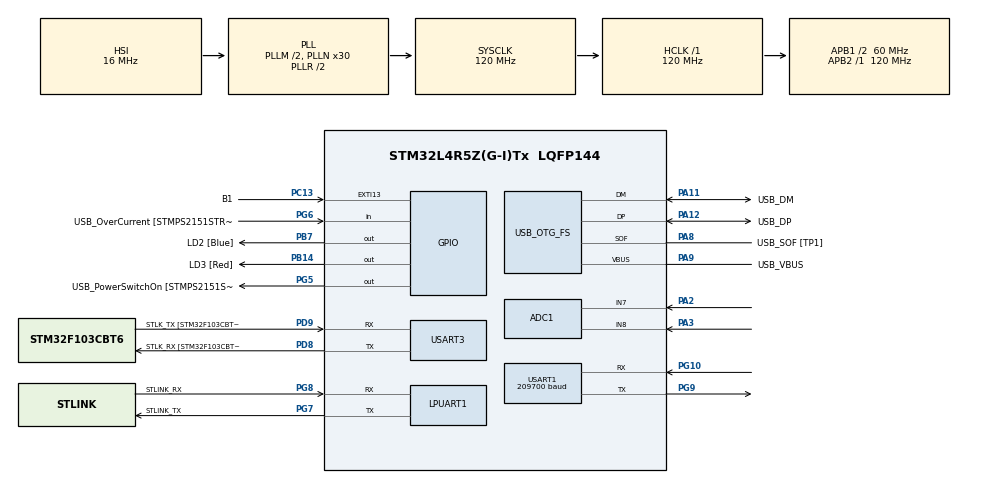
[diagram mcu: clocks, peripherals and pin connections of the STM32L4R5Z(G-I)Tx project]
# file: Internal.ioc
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ADC1.Channel-0\#ChannelRegularConversion=ADC_CHANNEL_TEMPSENSOR
ADC1.ContinuousConvMode=ENABLE
ADC1.EnableAnalogWatchDog1=true
ADC1.NbrOfConversionFlag=1
ADC1.OffsetNumber-0\#ChannelRegularConversion=ADC_OFFSET_NONE
ADC1.Rank-0\#ChannelRegularConversion=1
ADC1.SamplingTime-0\#ChannelRegularConversion=ADC_SAMPLETIME_47CYCLES_5
ADC1.WatchdogChannel=ADC_CHANNEL_TEMPSENSOR
ADC1.master=1
Mcu.Family=STM32L4
Mcu.Name=STM32L4R5Z(G-I)Tx
Mcu.Package=LQFP144
NVIC.PriorityGroup=NVIC_PRIORITYGROUP_4
PA10.GPIO_Label=USB_ID
PA10.Signal=USB_OTG_FS_ID
PA11.GPIO_Label=USB_DM
PA11.Mode=Device_Only
PA11.Signal=USB_OTG_FS_DM
PA12.GPIO_Label=USB_DP
PA12.Mode=Device_Only
PA12.Signal=USB_OTG_FS_DP
PA13\ (JTMS/SWDIO).GPIO_Label=TMS
PA13\ (JTMS/SWDIO).Mode=Trace_Asynchronous_SW
PA13\ (JTMS/SWDIO).Signal=SYS_JTMS-SWDIO
PA14\ (JTCK/SWCLK).GPIO_Label=TCK
PA14\ (JTCK/SWCLK).Mode=Trace_Asynchronous_SW
PA14\ (JTCK/SWCLK).Signal=SYS_JTCK-SWCLK
PA2.Signal=ADCx_IN7
PA3.Signal=ADCx_IN8
PA8.GPIO_Label=USB_SOF [TP1]
PA8.Mode=Activate_SOF_FS
PA8.Signal=USB_OTG_FS_SOF
PA9.GPIO_Label=USB_VBUS
PA9.Mode=Activate_VBUS
PA9.Signal=USB_OTG_FS_VBUS
PB14.GPIO_Label=LD3 [Red]
PB14.Signal=GPIO_Output
PB3\ (JTDO/TRACESWO).GPIO_Label=SWO
PB3\ (JTDO/TRACESWO).Mode=Trace_Asynchronous_SW
PB3\ (JTDO/TRACESWO).Signal=SYS_JTDO-SWO
PB7.GPIO_Label=LD2 [Blue]
PB7.Signal=GPIO_Output
PC13.GPIO_Label=B1
PC13.Signal=GPXTI13
PC14-OSC32_IN\ (PC14).Mode=LSE-External-Oscillator
PC14-OSC32_IN\ (PC14).Signal=RCC_OSC32_IN
PC15-OSC32_OUT\ (PC15).Mode=LSE-External-Oscillator
PC15-OSC32_OUT\ (PC15).Signal=RCC_OSC32_OUT
PD8.GPIO_Label=STLK_RX [STM32F103CBT6_PA3]
PD8.Mode=Asynchronous
PD8.Signal=USART3_TX
PD9.GPIO_Label=STLK_TX [STM32F103CBT6_PA2]
PD9.Mode=Asynchronous
PD9.Signal=USART3_RX
PG10.Mode=Asynchronous
PG10.Signal=USART1_RX
PG5.GPIO_Label=USB_PowerSwitchOn [STMPS2151STR_EN]
PG5.Signal=GPIO_Output
PG6.GPIO_Label=USB_OverCurrent [STMPS2151STR_FAULT]
PG6.Signal=GPIO_Input
PG7.GPIO_Label=STLINK_TX
PG7.Mode=Asynchronous
PG7.Signal=LPUART1_TX
PG8.GPIO_Label=STLINK_RX
PG8.Mode=Asynchronous
PG8.Signal=LPUART1_RX
PG9.Mode=Asynchronous
PG9.Signal=USART1_TX
PH0-OSC_IN\ (PH0).Signal=RCC_OSC_IN
PH1-OSC_OUT\ (PH1).Signal=RCC_OSC_OUT
ProjectManager.HeapSize=0x200
ProjectManager.StackSize=0x400
ProjectManager.TargetToolchain=STM32CubeIDE
RCC.48MHZClocksFreq_Value=24000000
RCC.ADCFreq_Value=48000000
RCC.AHBFreq_Value=120000000
RCC.APB1CLKDivider=RCC_HCLK_DIV2
RCC.APB1Freq_Value=60000000
RCC.APB1TimFreq_Value=120000000
RCC.APB2Freq_Value=120000000
RCC.APB2TimFreq_Value=120000000
RCC.CK48CLockSelection=RCC_USBCLKSOURCE_HSI48
RCC.CortexFreq_Value=120000000
RCC.HCLKFreq_Value=120000000
RCC.HSE_VALUE=8000000
RCC.HSI48_VALUE=48000000
RCC.HSI_VALUE=16000000
RCC.MSI_VALUE=4000000
RCC.PLLM1=2
RCC.PLLM2=2
RCC.PLLMUL=RCC_PLL_MUL9
RCC.PLLN=30
RCC.PLLSAI1N=12
RCC.PLLSourceVirtual=RCC_PLLSOURCE_HSI
RCC.PRESCALERUSB=RCC_USBCLKSOURCE_PLL_DIV1_5
RCC.SYSCLKFreq_VALUE=120000000
RCC.SYSCLKSource=RCC_SYSCLKSOURCE_PLLCLK
RCC.SYSCLKSourceVirtual=RCC_SYSCLKSOURCE_PLLCLK
RCC.USBFreq_Value=48000000
RCC.VCOOutputFreq_Value=240000000
SH.ADCx_IN7.0=ADC1_IN7,IN7-Differential
SH.ADCx_IN8.0=ADC1_IN8,IN7-Differential
USART1.BaudRate=209700
USART1.VirtualMode-Asynchronous=VM_ASYNC
USART3.VirtualMode-Asynchronous=VM_ASYNC
USB_OTG_FS.VirtualMode=Device_Only
VP_ADC1_TempSens_Input.Mode=IN-TempSens
board=NUCLEO-L4R5ZI

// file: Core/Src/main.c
/* USER CODE BEGIN Header */
/**
 ******************************************************************************
 * @file           : main.c
 * @brief          : Main program body
 ******************************************************************************
 * @attention
 *
 * Copyright (c) 2022 STMicroelectronics.
 * All rights reserved.
 *
 * This software is licensed under terms that can be found in the LICENSE file
 * in the root directory of this software component.
 * If no LICENSE file comes with this software, it is provided AS-IS.
 *
 ******************************************************************************
 */
/* USER CODE END Header */
#include "main.h"

ADC_HandleTypeDef hadc1;

UART_HandleTypeDef hlpuart1;
UART_HandleTypeDef huart1;
UART_HandleTypeDef huart3;

PCD_HandleTypeDef hpcd_USB_OTG_FS;

void SystemClock_Config(void);
static void MX_GPIO_Init(void);
static void MX_LPUART1_UART_Init(void);
static void MX_USART3_UART_Init(void);
static void MX_USB_OTG_FS_PCD_Init(void);
static void MX_USART1_UART_Init(void);
static void MX_ADC1_Init(void);

/* USER CODE BEGIN 0 */
uint8_t dataRec[65];
#define Avg_Slope 2.5
#define v30	0.76
#define vtemp 30
#define vrefplus 3.5
#define something_stupid

float temperature;

/* USER CODE END 0 */

int main(void) {

	/* MCU Configuration--------------------------------------------------------*/

	/* Reset of all peripherals, Initializes the Flash interface and the Systick. */
	HAL_Init();

	/* Configure the system clock */
	SystemClock_Config();

	/* Initialize all configured peripherals */
	MX_GPIO_Init();
	MX_LPUART1_UART_Init();
	MX_USART3_UART_Init();
	MX_USB_OTG_FS_PCD_Init();
	MX_USART1_UART_Init();
	MX_ADC1_Init();
	/* USER CODE BEGIN 2 */
	HAL_ADC_Start(&hadc1);

	/* USER CODE END 2 */

	/* Infinite loop */
	while (1) {

		/* USER CODE BEGIN 3 */
		char newLine[2] = "\n";

		HAL_ADC_Start(&hadc1);
		HAL_ADC_PollForConversion(&hadc1, 1000);
		uint16_t readValue = HAL_ADC_GetValue(&hadc1);
		temperature = (float) __LL_ADC_CALC_TEMPERATURE_TYP_PARAMS(Avg_Slope,
				v30, vtemp, vrefplus, readValue, LL_ADC_RESOLUTION_12B);

		HAL_ADC_Stop(&hadc1);

		uint8_t tempBuf[3];
		int temp = (int) temperature;
		itoa(temp, tempBuf, 10);
		HAL_UART_Transmit(&hlpuart1, tempBuf, strlen((char*) tempBuf),
		HAL_MAX_DELAY);

		// Print new line for clarity
		HAL_UART_Transmit(&hlpuart1, newLine, strlen((char*) newLine),
		HAL_MAX_DELAY);
		HAL_Delay(700);
	}
	/* USER CODE END 3 */
}

void SystemClock_Config(void) {
	RCC_OscInitTypeDef RCC_OscInitStruct = { 0 };
	RCC_ClkInitTypeDef RCC_ClkInitStruct = { 0 };

	/** Configure the main internal regulator output voltage
	 */
	if (HAL_PWREx_ControlVoltageScaling(PWR_REGULATOR_VOLTAGE_SCALE1_BOOST)
			!= HAL_OK) {
		Error_Handler();
	}

	/** Initializes the RCC Oscillators according to the specified parameters
	 * in the RCC_OscInitTypeDef structure.
	 */
	RCC_OscInitStruct.OscillatorType = RCC_OSCILLATORTYPE_HSI48
			| RCC_OSCILLATORTYPE_HSI;
	RCC_OscInitStruct.HSIState = RCC_HSI_ON;
	RCC_OscInitStruct.HSI48State = RCC_HSI48_ON;
	RCC_OscInitStruct.HSICalibrationValue = RCC_HSICALIBRATION_DEFAULT;
	RCC_OscInitStruct.PLL.PLLState = RCC_PLL_ON;
	RCC_OscInitStruct.PLL.PLLSource = RCC_PLLSOURCE_HSI;
	RCC_OscInitStruct.PLL.PLLM = 2;
	RCC_OscInitStruct.PLL.PLLN = 30;
	RCC_OscInitStruct.PLL.PLLP = RCC_PLLP_DIV2;
	RCC_OscInitStruct.PLL.PLLQ = RCC_PLLQ_DIV2;
	RCC_OscInitStruct.PLL.PLLR = RCC_PLLR_DIV2;
	if (HAL_RCC_OscConfig(&RCC_OscInitStruct) != HAL_OK) {
		Error_Handler();
	}

	/** Initializes the CPU, AHB and APB buses clocks
	 */
	RCC_ClkInitStruct.ClockType = RCC_CLOCKTYPE_HCLK | RCC_CLOCKTYPE_SYSCLK
			| RCC_CLOCKTYPE_PCLK1 | RCC_CLOCKTYPE_PCLK2;
	RCC_ClkInitStruct.SYSCLKSource = RCC_SYSCLKSOURCE_PLLCLK;
	RCC_ClkInitStruct.AHBCLKDivider = RCC_SYSCLK_DIV1;
	RCC_ClkInitStruct.APB1CLKDivider = RCC_HCLK_DIV2;
	RCC_ClkInitStruct.APB2CLKDivider = RCC_HCLK_DIV1;

	if (HAL_RCC_ClockConfig(&RCC_ClkInitStruct, FLASH_LATENCY_5) != HAL_OK) {
		Error_Handler();
	}
}

static void MX_ADC1_Init(void) {

	ADC_AnalogWDGConfTypeDef AnalogWDGConfig = { 0 };
	ADC_ChannelConfTypeDef sConfig = { 0 };

	/** Common config
	 */
	hadc1.Instance = ADC1;
	hadc1.Init.ClockPrescaler = ADC_CLOCK_ASYNC_DIV1;
	hadc1.Init.Resolution = ADC_RESOLUTION_12B;
	hadc1.Init.DataAlign = ADC_DATAALIGN_RIGHT;
	hadc1.Init.ScanConvMode = ADC_SCAN_DISABLE;
	hadc1.Init.EOCSelection = ADC_EOC_SINGLE_CONV;
	hadc1.Init.LowPowerAutoWait = DISABLE;
	hadc1.Init.ContinuousConvMode = ENABLE;
	hadc1.Init.NbrOfConversion = 1;
	hadc1.Init.DiscontinuousConvMode = DISABLE;
	hadc1.Init.ExternalTrigConv = ADC_SOFTWARE_START;
	hadc1.Init.ExternalTrigConvEdge = ADC_EXTERNALTRIGCONVEDGE_NONE;
	hadc1.Init.DMAContinuousRequests = DISABLE;
	hadc1.Init.Overrun = ADC_OVR_DATA_PRESERVED;
	hadc1.Init.OversamplingMode = DISABLE;
	if (HAL_ADC_Init(&hadc1) != HAL_OK) {
		Error_Handler();
	}

	/** Configure Analog WatchDog 1
	 */
	AnalogWDGConfig.WatchdogNumber = ADC_ANALOGWATCHDOG_1;
	AnalogWDGConfig.WatchdogMode = ADC_ANALOGWATCHDOG_SINGLE_REG;
	AnalogWDGConfig.Channel = ADC_CHANNEL_TEMPSENSOR;
	AnalogWDGConfig.ITMode = DISABLE;
	AnalogWDGConfig.HighThreshold = 0;
	AnalogWDGConfig.LowThreshold = 0;
	if (HAL_ADC_AnalogWDGConfig(&hadc1, &AnalogWDGConfig) != HAL_OK) {
		Error_Handler();
	}

	/** Configure Regular Channel
	 */
	sConfig.Channel = ADC_CHANNEL_TEMPSENSOR;
	sConfig.Rank = ADC_REGULAR_RANK_1;
	sConfig.SamplingTime = ADC_SAMPLETIME_47CYCLES_5;
	sConfig.SingleDiff = ADC_SINGLE_ENDED;
	sConfig.OffsetNumber = ADC_OFFSET_NONE;
	sConfig.Offset = 0;
	if (HAL_ADC_ConfigChannel(&hadc1, &sConfig) != HAL_OK) {
		Error_Handler();
	}

}

static void MX_LPUART1_UART_Init(void) {

	hlpuart1.Instance = LPUART1;
	hlpuart1.Init.BaudRate = 209700;
	hlpuart1.Init.WordLength = UART_WORDLENGTH_8B;
	hlpuart1.Init.StopBits = UART_STOPBITS_1;
	hlpuart1.Init.Parity = UART_PARITY_NONE;
	hlpuart1.Init.Mode = UART_MODE_TX_RX;
	hlpuart1.Init.HwFlowCtl = UART_HWCONTROL_NONE;
	hlpuart1.Init.OneBitSampling = UART_ONE_BIT_SAMPLE_DISABLE;
	hlpuart1.Init.ClockPrescaler = UART_PRESCALER_DIV1;
	hlpuart1.AdvancedInit.AdvFeatureInit = UART_ADVFEATURE_NO_INIT;
	hlpuart1.FifoMode = UART_FIFOMODE_DISABLE;
	if (HAL_UART_Init(&hlpuart1) != HAL_OK) {
		Error_Handler();
	}
	if (HAL_UARTEx_SetTxFifoThreshold(&hlpuart1, UART_TXFIFO_THRESHOLD_1_8)
			!= HAL_OK) {
		Error_Handler();
	}
	if (HAL_UARTEx_SetRxFifoThreshold(&hlpuart1, UART_RXFIFO_THRESHOLD_1_8)
			!= HAL_OK) {
		Error_Handler();
	}
	if (HAL_UARTEx_DisableFifoMode(&hlpuart1) != HAL_OK) {
		Error_Handler();
	}

}

static void MX_USART1_UART_Init(void) {

	huart1.Instance = USART1;
	huart1.Init.BaudRate = 209700;
	huart1.Init.WordLength = UART_WORDLENGTH_8B;
	huart1.Init.StopBits = UART_STOPBITS_1;
	huart1.Init.Parity = UART_PARITY_NONE;
	huart1.Init.Mode = UART_MODE_TX_RX;
	huart1.Init.HwFlowCtl = UART_HWCONTROL_NONE;
	huart1.Init.OverSampling = UART_OVERSAMPLING_16;
	huart1.Init.OneBitSampling = UART_ONE_BIT_SAMPLE_DISABLE;
	huart1.Init.ClockPrescaler = UART_PRESCALER_DIV1;
	huart1.AdvancedInit.AdvFeatureInit = UART_ADVFEATURE_NO_INIT;
	if (HAL_UART_Init(&huart1) != HAL_OK) {
		Error_Handler();
	}
	if (HAL_UARTEx_SetTxFifoThreshold(&huart1, UART_TXFIFO_THRESHOLD_1_8)
			!= HAL_OK) {
		Error_Handler();
	}
	if (HAL_UARTEx_SetRxFifoThreshold(&huart1, UART_RXFIFO_THRESHOLD_1_8)
			!= HAL_OK) {
		Error_Handler();
	}
	if (HAL_UARTEx_DisableFifoMode(&huart1) != HAL_OK) {
		Error_Handler();
	}

}

static void MX_USART3_UART_Init(void) {

	huart3.Instance = USART3;
	huart3.Init.BaudRate = 115200;
	huart3.Init.WordLength = UART_WORDLENGTH_8B;
	huart3.Init.StopBits = UART_STOPBITS_1;
	huart3.Init.Parity = UART_PARITY_NONE;
	huart3.Init.Mode = UART_MODE_TX_RX;
	huart3.Init.HwFlowCtl = UART_HWCONTROL_NONE;
	huart3.Init.OverSampling = UART_OVERSAMPLING_16;
	huart3.Init.OneBitSampling = UART_ONE_BIT_SAMPLE_DISABLE;
	huart3.Init.ClockPrescaler = UART_PRESCALER_DIV1;
	huart3.AdvancedInit.AdvFeatureInit = UART_ADVFEATURE_NO_INIT;
	if (HAL_UART_Init(&huart3) != HAL_OK) {
		Error_Handler();
	}
	if (HAL_UARTEx_SetTxFifoThreshold(&huart3, UART_TXFIFO_THRESHOLD_1_8)
			!= HAL_OK) {
		Error_Handler();
	}
	if (HAL_UARTEx_SetRxFifoThreshold(&huart3, UART_RXFIFO_THRESHOLD_1_8)
			!= HAL_OK) {
		Error_Handler();
	}
	if (HAL_UARTEx_DisableFifoMode(&huart3) != HAL_OK) {
		Error_Handler();
	}

}

static void MX_USB_OTG_FS_PCD_Init(void) {

	hpcd_USB_OTG_FS.Instance = USB_OTG_FS;
	hpcd_USB_OTG_FS.Init.dev_endpoints = 6;
	hpcd_USB_OTG_FS.Init.phy_itface = PCD_PHY_EMBEDDED;
	hpcd_USB_OTG_FS.Init.Sof_enable = ENABLE;
	hpcd_USB_OTG_FS.Init.low_power_enable = DISABLE;
	hpcd_USB_OTG_FS.Init.lpm_enable = DISABLE;
	hpcd_USB_OTG_FS.Init.battery_charging_enable = ENABLE;
	hpcd_USB_OTG_FS.Init.use_dedicated_ep1 = DISABLE;
	hpcd_USB_OTG_FS.Init.vbus_sensing_enable = ENABLE;
	if (HAL_PCD_Init(&hpcd_USB_OTG_FS) != HAL_OK) {
		Error_Handler();
	}

}

static void MX_GPIO_Init(void) {
	GPIO_InitTypeDef GPIO_InitStruct = { 0 };

	/* GPIO Ports Clock Enable */
	__HAL_RCC_GPIOC_CLK_ENABLE();
	__HAL_RCC_GPIOH_CLK_ENABLE();
	__HAL_RCC_GPIOA_CLK_ENABLE();
	__HAL_RCC_GPIOB_CLK_ENABLE();
	__HAL_RCC_GPIOD_CLK_ENABLE();
	__HAL_RCC_GPIOG_CLK_ENABLE();
	HAL_PWREx_EnableVddIO2();

	/*Configure GPIO pin Output Level */
	HAL_GPIO_WritePin(GPIOB, LD3_Pin | LD2_Pin, GPIO_PIN_RESET);

	/*Configure GPIO pin Output Level */
	HAL_GPIO_WritePin(USB_PowerSwitchOn_GPIO_Port, USB_PowerSwitchOn_Pin,
			GPIO_PIN_RESET);

	/*Configure GPIO pin : B1_Pin */
	GPIO_InitStruct.Pin = B1_Pin;
	GPIO_InitStruct.Mode = GPIO_MODE_IT_RISING;
	GPIO_InitStruct.Pull = GPIO_NOPULL;
	HAL_GPIO_Init(B1_GPIO_Port, &GPIO_InitStruct);

	/*Configure GPIO pins : LD3_Pin LD2_Pin */
	GPIO_InitStruct.Pin = LD3_Pin | LD2_Pin;
	GPIO_InitStruct.Mode = GPIO_MODE_OUTPUT_PP;
	GPIO_InitStruct.Pull = GPIO_NOPULL;
	GPIO_InitStruct.Speed = GPIO_SPEED_FREQ_LOW;
	HAL_GPIO_Init(GPIOB, &GPIO_InitStruct);

	/*Configure GPIO pin : USB_PowerSwitchOn_Pin */
	GPIO_InitStruct.Pin = USB_PowerSwitchOn_Pin;
	GPIO_InitStruct.Mode = GPIO_MODE_OUTPUT_PP;
	GPIO_InitStruct.Pull = GPIO_NOPULL;
	GPIO_InitStruct.Speed = GPIO_SPEED_FREQ_LOW;
	HAL_GPIO_Init(USB_PowerSwitchOn_GPIO_Port, &GPIO_InitStruct);

	/*Configure GPIO pin : USB_OverCurrent_Pin */
	GPIO_InitStruct.Pin = USB_OverCurrent_Pin;
	GPIO_InitStruct.Mode = GPIO_MODE_INPUT;
	GPIO_InitStruct.Pull = GPIO_NOPULL;
	HAL_GPIO_Init(USB_OverCurrent_GPIO_Port, &GPIO_InitStruct);

}

/* USER CODE BEGIN 4 */
void HAL_UART_RxCpltCallback(UART_HandleTypeDef *hlpuart1) {
	//toggle red to show
	HAL_GPIO_TogglePin(GPIOB, GPIO_PIN_14);

	//HAL_UART_Transmit(&hlpuart1, (uint8_t*)dataRec, 65, HAL_MAX_DELAY);

	HAL_UART_Receive_DMA(hlpuart1, dataRec, 65);
}
/* USER CODE END 4 */

void Error_Handler(void) {
	__disable_irq();
	while (1) {
	}
}
